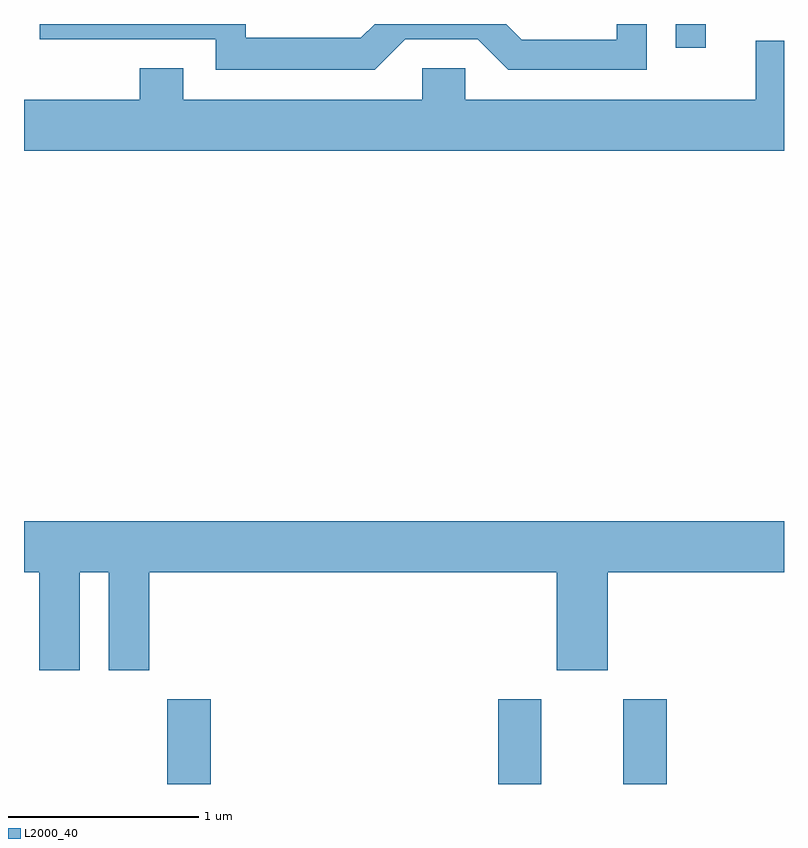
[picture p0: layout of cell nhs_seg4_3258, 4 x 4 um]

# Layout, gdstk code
import gdstk
lib = gdstk.Library(unit=1e-6, precision=1e-09)
def R(c, l, rs):  # rectangles x0, y0, x1, y1
    for r in rs: c.add(gdstk.rectangle(r[:2], r[2:], *l))
def P(c, l, *ps):  # polygons
    for p in ps: c.add(gdstk.Polygon(p, *l))
L2000_40 = (2000, 40)

nhs_seg4_3258 = lib.new_cell('nhs_seg4_3258')
R(nhs_seg4_3258, L2000_40, [(280.366,1377.982,280.594,1378.429), (282.106,1377.982,282.334,1378.429), (282.766,1377.982,282.994,1378.429), (283.041,1381.858,283.199,1381.982)])
P(nhs_seg4_3258, L2000_40, [(281.617,1381.901),(281.999,1381.901),(282.159,1381.741),(282.889,1381.741),(282.889,1381.982),(282.731,1381.982),(282.731,1381.899),(282.232,1381.899),(282.149,1381.982),(281.457,1381.982),(281.384,1381.909),(280.779,1381.909),(280.779,1381.982),(279.693,1381.982),(279.693,1381.901),(280.621,1381.901),(280.621,1381.741),(281.457,1381.741)],
  [(283.611,1381.894),(283.461,1381.894),(283.461,1381.584),(281.934,1381.584),(281.934,1381.749),(281.706,1381.749),(281.706,1381.584),(280.449,1381.584),(280.449,1381.749),(280.221,1381.749),(280.221,1381.584),(279.611,1381.584),(279.611,1381.316),(283.611,1381.316)],
  [(279.904,1379.096),(280.056,1379.096),(280.056,1378.581),(280.269,1378.581),(280.269,1379.096),(282.416,1379.096),(282.416,1378.581),(282.684,1378.581),(282.684,1379.096),(283.611,1379.096),(283.611,1379.364),(279.611,1379.364),(279.611,1379.096),(279.691,1379.096),(279.691,1378.581),(279.904,1378.581)])

lib.write_gds('nhs_seg4_3258.gds')
